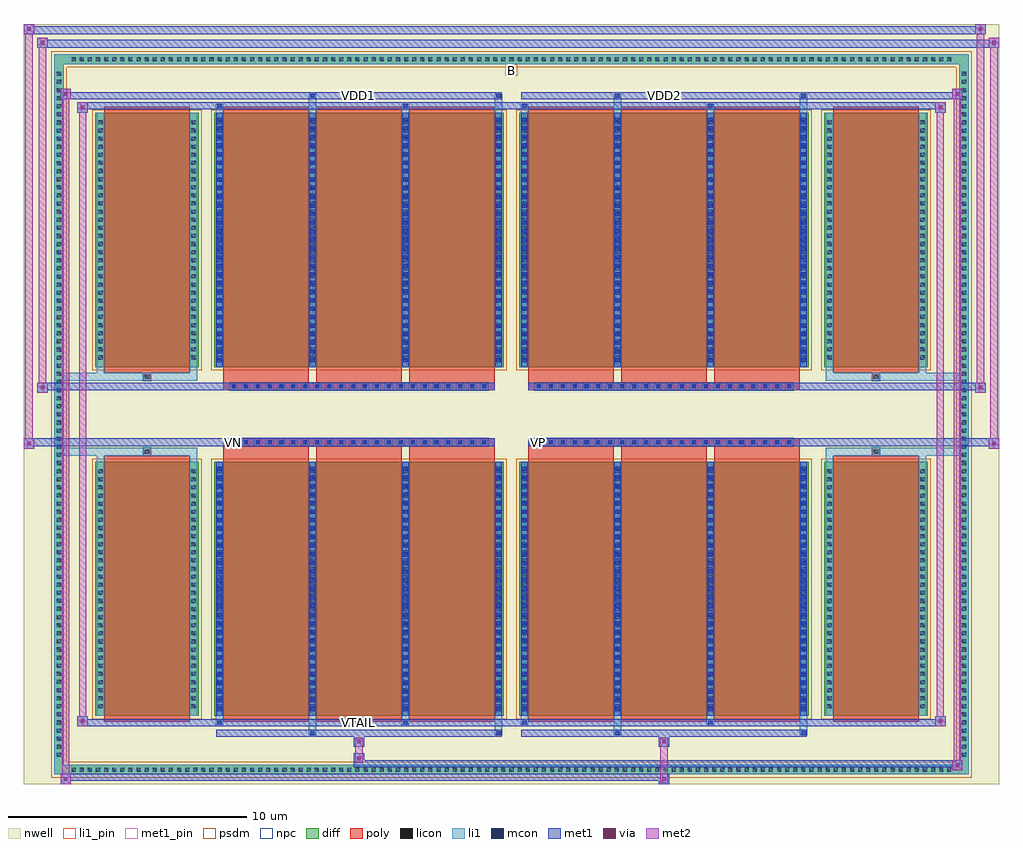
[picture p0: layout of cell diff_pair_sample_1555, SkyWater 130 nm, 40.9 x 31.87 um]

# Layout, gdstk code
import gdstk
lib = gdstk.Library(unit=1e-6, precision=5e-09)
def R(c, l, rs):  # rectangles x0, y0, x1, y1
    for r in rs: c.add(gdstk.rectangle(r[:2], r[2:], *l))
def A(c, l, x, y, w, h, nx, ny, dx, dy):  # array of equal rectangles
    R(c, l, [(x+i*dx, y+j*dy, x+i*dx+w, y+j*dy+h) for i in range(nx) for j in range(ny)])
def P(c, l, *ps):  # polygons
    for p in ps: c.add(gdstk.Polygon(p, *l))
nwell = (64, 20)
diff = (65, 20)
poly = (66, 20)
licon = (66, 44)
li1_pin = (67, 16)
li1 = (67, 20)
mcon = (67, 44)
met1_pin = (68, 16)
met1 = (68, 20)
via = (68, 44)
met2 = (69, 20)
psdm = (94, 20)
npc = (95, 20)

diff_pair_sample_1555 = lib.new_cell('diff_pair_sample_1555')
R(diff_pair_sample_1555, nwell, [(-20.45,-15.5,20.45,16.37), (-17.77,-13.69,-0.01,-0.805), (0.01,-13.69,17.77,-0.805), (-17.77,0.805,-0.01,13.69), (0.01,0.805,17.77,13.69)])
A(diff_pair_sample_1555, diff, -18.565, -15.1, 0.41, 0.41, 109, 2, 0.34, 29.79)
A(diff_pair_sample_1555, diff, -19.18, -14.485, 0.41, 0.41, 1, 85, 0, 0.34)
A(diff_pair_sample_1555, diff, 18.77, -14.485, 0.41, 0.41, 1, 85, 0, 0.34)
R(diff_pair_sample_1555, diff, [(-18.565,-15.1,18.565,-14.69), (-19.18,-14.485,-18.77,14.485), (18.77,-14.485,19.18,14.485), (-17.46,-12.645,-13.11,-1.985), (-12.47,-12.645,-0.32,-1.985), (0.32,-12.645,12.47,-1.985), (13.11,-12.645,17.46,-1.985), (-17.46,1.985,-13.11,12.645), (-12.47,1.985,-0.32,12.645), (0.32,1.985,12.47,12.645), (13.11,1.985,17.46,12.645), (-18.565,14.69,18.565,15.1)])
P(diff_pair_sample_1555, diff, [(19.18,15.1),(-19.18,15.1),(-19.18,-14.69),(-18.77,-14.69),(-18.77,14.69),(18.77,14.69),(18.77,-14.69),(-18.77,-14.69),(-19.18,-14.69),(-19.18,-15.1),(19.18,-15.1)])
A(diff_pair_sample_1555, poly, -12.08, -12.895, 3.57, 11.16, 3, 2, 3.9, 14.63)
A(diff_pair_sample_1555, poly, 0.71, -12.895, 3.57, 11.16, 3, 2, 3.9, 14.63)
A(diff_pair_sample_1555, poly, -12.08, -1.735, 3.57, 0.4, 3, 2, 3.9, 3.07)
A(diff_pair_sample_1555, poly, 0.71, -1.735, 3.57, 0.4, 3, 2, 3.9, 3.07)
A(diff_pair_sample_1555, poly, -11.81, -1.335, 0.33, 0.33, 22, 2, 0.5, 2.34)
A(diff_pair_sample_1555, poly, 0.98, -1.335, 0.33, 0.33, 22, 2, 0.5, 2.34)
R(diff_pair_sample_1555, poly, [(-17.07,-12.895,-13.5,-1.735), (13.5,-12.895,17.07,-1.735), (-15.45,-1.735,-15.12,-1.405), (-15.45,-1.735,-15.12,-1.405), (15.12,-1.735,15.45,-1.405), (15.12,-1.735,15.45,-1.405), (-12.08,-1.335,-0.71,-1.005), (0.71,-1.335,12.08,-1.005), (-12.08,1.005,-0.71,1.335), (0.71,1.005,12.08,1.335), (-15.45,1.405,-15.12,1.735), (-15.45,1.405,-15.12,1.735), (15.12,1.405,15.45,1.735), (15.12,1.405,15.45,1.735), (-17.07,1.735,-13.5,12.895), (13.5,1.735,17.07,12.895)])
A(diff_pair_sample_1555, licon, -18.445, -14.98, 0.17, 0.17, 109, 2, 0.34, 29.79)
A(diff_pair_sample_1555, licon, -19.06, -14.365, 0.17, 0.17, 1, 85, 0, 0.34)
A(diff_pair_sample_1555, licon, 18.89, -14.365, 0.17, 0.17, 1, 85, 0, 0.34)
A(diff_pair_sample_1555, licon, -17.32, -12.33, 0.17, 0.17, 1, 30, 0, 0.34)
A(diff_pair_sample_1555, licon, -13.42, -12.33, 0.17, 0.17, 1, 30, 0, 0.34)
A(diff_pair_sample_1555, licon, -12.33, -12.33, 0.17, 0.17, 4, 30, 3.9, 0.34)
A(diff_pair_sample_1555, licon, 0.46, -12.33, 0.17, 0.17, 4, 30, 3.9, 0.34)
A(diff_pair_sample_1555, licon, 13.25, -12.33, 0.17, 0.17, 1, 30, 0, 0.34)
A(diff_pair_sample_1555, licon, 17.15, -12.33, 0.17, 0.17, 1, 30, 0, 0.34)
A(diff_pair_sample_1555, licon, -11.73, -1.255, 0.17, 0.17, 22, 2, 0.5, 2.34)
A(diff_pair_sample_1555, licon, 1.06, -1.255, 0.17, 0.17, 22, 2, 0.5, 2.34)
A(diff_pair_sample_1555, licon, -17.32, 2.3, 0.17, 0.17, 1, 30, 0, 0.34)
A(diff_pair_sample_1555, licon, -13.42, 2.3, 0.17, 0.17, 1, 30, 0, 0.34)
A(diff_pair_sample_1555, licon, -12.33, 2.3, 0.17, 0.17, 4, 30, 3.9, 0.34)
A(diff_pair_sample_1555, licon, 0.46, 2.3, 0.17, 0.17, 4, 30, 3.9, 0.34)
A(diff_pair_sample_1555, licon, 13.25, 2.3, 0.17, 0.17, 1, 30, 0, 0.34)
A(diff_pair_sample_1555, licon, 17.15, 2.3, 0.17, 0.17, 1, 30, 0, 0.34)
R(diff_pair_sample_1555, licon, [(-15.37,-1.655,-15.2,-1.485), (15.2,-1.655,15.37,-1.485), (-15.37,1.485,-15.2,1.655), (15.2,1.485,15.37,1.655)])
R(diff_pair_sample_1555, li1_pin, [(-0.25,14.19,0.25,14.69)])
A(diff_pair_sample_1555, li1, -18.525, -15.06, 0.33, 0.33, 109, 2, 0.34, 29.79)
A(diff_pair_sample_1555, li1, -19.14, -14.445, 0.33, 0.33, 1, 85, 0, 0.34)
A(diff_pair_sample_1555, li1, 18.81, -14.445, 0.33, 0.33, 1, 85, 0, 0.34)
A(diff_pair_sample_1555, li1, -12.41, -12.645, 0.33, 10.66, 4, 2, 3.9, 14.63)
A(diff_pair_sample_1555, li1, 0.38, -12.645, 0.33, 10.66, 4, 2, 3.9, 14.63)
A(diff_pair_sample_1555, li1, -12.33, -12.44, 0.17, 0.17, 4, 29, 3.9, 0.36)
A(diff_pair_sample_1555, li1, -12.33, -12.44, 0.17, 10.25, 4, 2, 3.9, 14.63)
A(diff_pair_sample_1555, li1, 0.46, -12.44, 0.17, 0.17, 4, 29, 3.9, 0.36)
A(diff_pair_sample_1555, li1, 0.46, -12.44, 0.17, 10.25, 4, 2, 3.9, 14.63)
A(diff_pair_sample_1555, li1, -17.4, -12.41, 0.33, 0.33, 1, 30, 0, 0.34)
A(diff_pair_sample_1555, li1, -13.5, -12.41, 0.33, 0.33, 1, 30, 0, 0.34)
A(diff_pair_sample_1555, li1, -12.41, -12.41, 0.33, 0.33, 4, 30, 3.9, 0.34)
A(diff_pair_sample_1555, li1, 0.38, -12.41, 0.33, 0.33, 4, 30, 3.9, 0.34)
A(diff_pair_sample_1555, li1, 13.17, -12.41, 0.33, 0.33, 1, 30, 0, 0.34)
A(diff_pair_sample_1555, li1, 17.07, -12.41, 0.33, 0.33, 1, 30, 0, 0.34)
A(diff_pair_sample_1555, li1, -11.81, -1.335, 0.33, 0.33, 22, 2, 0.5, 2.34)
A(diff_pair_sample_1555, li1, 0.98, -1.335, 0.33, 0.33, 22, 2, 0.5, 2.34)
A(diff_pair_sample_1555, li1, -12.33, 2.19, 0.17, 0.17, 4, 29, 3.9, 0.36)
A(diff_pair_sample_1555, li1, 0.46, 2.19, 0.17, 0.17, 4, 29, 3.9, 0.36)
A(diff_pair_sample_1555, li1, -17.4, 2.22, 0.33, 0.33, 1, 30, 0, 0.34)
A(diff_pair_sample_1555, li1, -13.5, 2.22, 0.33, 0.33, 1, 30, 0, 0.34)
A(diff_pair_sample_1555, li1, -12.41, 2.22, 0.33, 0.33, 4, 30, 3.9, 0.34)
A(diff_pair_sample_1555, li1, 0.38, 2.22, 0.33, 0.33, 4, 30, 3.9, 0.34)
A(diff_pair_sample_1555, li1, 13.17, 2.22, 0.33, 0.33, 1, 30, 0, 0.34)
A(diff_pair_sample_1555, li1, 17.07, 2.22, 0.33, 0.33, 1, 30, 0, 0.34)
R(diff_pair_sample_1555, li1, [(-19.18,-15.1,-18.77,-14.69), (-19.18,-15.1,-18.77,-14.69), (-18.77,-15.1,18.77,-14.69), (18.77,-15.1,19.18,-14.69), (18.77,-15.1,19.18,-14.69), (-19.18,-14.69,-18.77,14.69), (18.77,-14.69,19.18,14.69), (-8.51,-13.45,-8.18,-12.645), (-8.43,-13.45,-8.26,-13.28), (-0.71,-13.45,-0.38,-12.645), (-0.63,-13.45,-0.46,-13.28), (4.28,-13.45,4.61,-12.645), (4.36,-13.45,4.53,-13.28), (12.08,-13.45,12.41,-12.645), (12.16,-13.45,12.33,-13.28), (-12.41,-13.02,-12.08,-12.645), (-12.33,-13.02,-12.16,-12.85), (-4.61,-13.02,-4.28,-12.645), (-4.53,-13.02,-4.36,-12.85), (0.38,-13.02,0.71,-12.645), (0.46,-13.02,0.63,-12.85), (8.18,-13.02,8.51,-12.645), (8.26,-13.02,8.43,-12.85), (-17.4,-12.645,-17.07,-1.985), (-13.5,-12.645,-13.17,-1.985), (13.17,-12.645,13.5,-1.985), (17.07,-12.645,17.4,-1.985), (-17.4,-1.985,-17.07,-1.405), (-13.5,-1.985,-13.17,-1.405), (13.17,-1.985,13.5,-1.405), (17.07,-1.985,17.4,-1.405), (-19.18,-1.735,-15.45,-1.405), (-17.4,-1.735,-15.45,-1.405), (-15.45,-1.735,-15.12,-1.405), (-15.12,-1.735,-13.17,-1.405), (13.17,-1.735,15.12,-1.405), (15.12,-1.735,15.45,-1.405), (15.12,-1.735,19.18,-1.405), (15.45,-1.735,17.4,-1.405), (-19.18,1.405,-15.45,1.735), (-17.4,1.405,-15.45,1.735), (-17.4,1.405,-17.07,1.985), (-15.45,1.405,-15.12,1.735), (-15.12,1.405,-13.17,1.735), (-13.5,1.405,-13.17,1.985), (13.17,1.405,15.12,1.735), (13.17,1.405,13.5,1.985), (15.12,1.405,15.45,1.735), (15.12,1.405,19.18,1.735), (15.45,1.405,17.4,1.735), (17.07,1.405,17.4,1.985), (-17.4,1.985,-17.07,12.645), (-13.5,1.985,-13.17,12.645), (13.17,1.985,13.5,12.645), (17.07,1.985,17.4,12.645), (-12.41,12.645,-12.08,13.02), (-8.51,12.645,-8.18,13.45), (-4.61,12.645,-4.28,13.02), (-0.71,12.645,-0.38,13.45), (0.38,12.645,0.71,13.02), (4.28,12.645,4.61,13.45), (8.18,12.645,8.51,13.02), (12.08,12.645,12.41,13.45), (-12.33,12.85,-12.16,13.02), (-4.53,12.85,-4.36,13.02), (0.46,12.85,0.63,13.02), (8.26,12.85,8.43,13.02), (-8.43,13.28,-8.26,13.45), (-0.63,13.28,-0.46,13.45), (4.36,13.28,4.53,13.45), (12.16,13.28,12.33,13.45), (-19.18,14.69,-18.77,15.1), (-19.18,14.69,-18.77,15.1), (-18.77,14.69,18.77,15.1), (18.77,14.69,19.18,15.1), (18.77,14.69,19.18,15.1)])
A(diff_pair_sample_1555, mcon, -12.33, -12.44, 0.17, 0.17, 4, 29, 3.9, 0.36)
A(diff_pair_sample_1555, mcon, 0.46, -12.44, 0.17, 0.17, 4, 29, 3.9, 0.36)
A(diff_pair_sample_1555, mcon, -11.73, -1.255, 0.17, 0.17, 22, 2, 0.5, 2.34)
A(diff_pair_sample_1555, mcon, 1.06, -1.255, 0.17, 0.17, 22, 2, 0.5, 2.34)
A(diff_pair_sample_1555, mcon, -12.33, 2.19, 0.17, 0.17, 4, 29, 3.9, 0.36)
A(diff_pair_sample_1555, mcon, 0.46, 2.19, 0.17, 0.17, 4, 29, 3.9, 0.36)
R(diff_pair_sample_1555, mcon, [(-8.43,-13.45,-8.26,-13.28), (-0.63,-13.45,-0.46,-13.28), (4.36,-13.45,4.53,-13.28), (12.16,-13.45,12.33,-13.28), (-12.33,-13.02,-12.16,-12.85), (-4.53,-13.02,-4.36,-12.85), (0.46,-13.02,0.63,-12.85), (8.26,-13.02,8.43,-12.85), (-12.33,12.85,-12.16,13.02), (-4.53,12.85,-4.36,13.02), (0.46,12.85,0.63,13.02), (8.26,12.85,8.43,13.02), (-8.43,13.28,-8.26,13.45), (-0.63,13.28,-0.46,13.45), (4.36,13.28,4.53,13.45), (12.16,13.28,12.33,13.45)])
R(diff_pair_sample_1555, met1_pin, [(-6.53,-13.06,-6.26,-12.79), (-11.78,-1.295,-11.51,-1.025), (1.01,-1.295,1.28,-1.025), (-6.53,13.24,-6.26,13.51), (6.26,13.24,6.53,13.51)])
A(diff_pair_sample_1555, met1, -12.39, -12.645, 0.29, 10.66, 4, 2, 3.9, 14.63)
A(diff_pair_sample_1555, met1, 0.4, -12.645, 0.29, 10.66, 4, 2, 3.9, 14.63)
A(diff_pair_sample_1555, met1, -12.39, -12.5, 0.29, 0.29, 4, 29, 3.9, 0.36)
A(diff_pair_sample_1555, met1, 0.4, -12.5, 0.29, 0.29, 4, 29, 3.9, 0.36)
A(diff_pair_sample_1555, met1, -11.79, -1.315, 0.29, 0.29, 22, 2, 0.5, 2.34)
A(diff_pair_sample_1555, met1, 1, -1.315, 0.29, 0.29, 22, 2, 0.5, 2.34)
A(diff_pair_sample_1555, met1, -12.39, 2.13, 0.29, 0.29, 4, 29, 3.9, 0.36)
A(diff_pair_sample_1555, met1, 0.4, 2.13, 0.29, 0.29, 4, 29, 3.9, 0.36)
R(diff_pair_sample_1555, met1, [(-18.91,-15.5,-18.48,-15.07), (6.18,-15.5,6.61,-15.07), (-18.91,-15.36,6.61,-15.07), (18.48,-14.93,18.91,-14.5), (-6.61,-14.79,18.91,-14.5), (-6.61,-14.65,-6.18,-14.22), (-6.61,-13.94,-6.18,-13.51), (6.18,-13.94,6.61,-13.51), (-12.39,-13.51,-0.4,-13.22), (-8.49,-13.51,-8.2,-13.22), (-0.69,-13.51,-0.4,-13.22), (0.4,-13.51,12.39,-13.22), (4.3,-13.51,4.59,-13.22), (12.1,-13.51,12.39,-13.22), (-18.2,-13.08,-17.77,-12.65), (-18.2,-13.08,-12.39,-12.79), (-12.39,-13.08,-12.1,-12.79), (-12.39,-13.08,-0.4,-12.79), (-4.59,-13.08,-4.3,-12.79), (-0.4,-13.08,0.4,-12.79), (0.4,-13.08,0.69,-12.79), (0.4,-13.08,12.39,-12.79), (8.2,-13.08,8.49,-12.79), (12.39,-13.08,18.2,-12.79), (17.77,-13.08,18.2,-12.65), (-20.45,-1.435,-20.02,-1.005), (20.02,-1.435,20.45,-1.005), (-20.45,-1.335,-0.71,-1.005), (-12.08,-1.335,-0.71,-1.005), (0.71,-1.335,12.08,-1.005), (0.71,-1.335,20.45,-1.005), (-19.88,0.905,-19.45,1.335), (19.45,0.905,19.88,1.335), (-19.88,1.005,-12.08,1.335), (-12.08,1.005,-0.71,1.335), (0.71,1.005,12.08,1.335), (12.08,1.005,19.88,1.335), (-18.2,12.65,-17.77,13.08), (17.77,12.65,18.2,13.08), (-18.2,12.79,-12.39,13.08), (-12.39,12.79,-12.1,13.08), (-12.39,12.79,-0.4,13.08), (-4.59,12.79,-4.3,13.08), (-0.4,12.79,0.4,13.08), (0.4,12.79,0.69,13.08), (0.4,12.79,12.39,13.08), (8.2,12.79,8.49,13.08), (12.39,12.79,18.2,13.08), (-18.91,13.22,-18.48,13.65), (-18.91,13.22,-12.39,13.51), (-12.39,13.22,-0.4,13.51), (-8.49,13.22,-8.2,13.51), (-0.69,13.22,-0.4,13.51), (0.4,13.22,12.39,13.51), (4.3,13.22,4.59,13.51), (12.1,13.22,12.39,13.51), (12.39,13.22,18.91,13.51), (18.48,13.22,18.91,13.65), (-19.88,15.37,-19.45,15.8), (-19.88,15.37,-17.77,15.7), (-17.77,15.37,17.77,15.7), (17.77,15.37,20.45,15.7), (20.02,15.37,20.45,15.8), (-20.45,15.94,-20.02,16.37), (-20.45,15.94,-17.77,16.27), (-17.77,15.94,17.77,16.27), (17.77,15.94,19.88,16.27), (19.45,15.94,19.88,16.37)])
R(diff_pair_sample_1555, via, [(-18.77,-15.36,-18.62,-15.21), (6.32,-15.36,6.47,-15.21), (18.62,-14.79,18.77,-14.64), (-6.47,-14.51,-6.32,-14.36), (-6.47,-13.8,-6.32,-13.65), (6.32,-13.8,6.47,-13.65), (-18.06,-12.94,-17.91,-12.79), (17.91,-12.94,18.06,-12.79), (-20.31,-1.295,-20.16,-1.145), (20.16,-1.295,20.31,-1.145), (-19.74,1.045,-19.59,1.195), (19.59,1.045,19.74,1.195), (-18.06,12.79,-17.91,12.94), (17.91,12.79,18.06,12.94), (-18.77,13.36,-18.62,13.51), (18.62,13.36,18.77,13.51), (-19.74,15.51,-19.59,15.66), (20.16,15.51,20.31,15.66), (-20.31,16.08,-20.16,16.23), (19.59,16.08,19.74,16.23)])
R(diff_pair_sample_1555, met2, [(-18.91,-15.5,-18.48,-15.07), (-18.84,-15.5,-18.55,13.65), (-18.55,-15.5,-18.48,-15.07), (-18.86,-15.45,-18.53,-15.12), (6.23,-15.45,6.56,-15.12), (6.23,-15.12,6.56,-13.89), (18.48,-14.93,18.91,-14.5), (18.55,-14.93,18.84,13.65), (18.84,-14.93,18.91,-14.5), (18.53,-14.88,18.86,-14.55), (-6.56,-14.6,-6.23,-14.27), (-6.56,-14.27,-6.23,-13.89), (-6.56,-13.89,-6.23,-13.56), (6.23,-13.89,6.56,-13.56), (-18.2,-13.08,-17.77,-12.65), (-18.13,-13.08,-17.84,13.08), (-17.84,-13.08,-17.77,-12.65), (17.77,-13.08,18.2,-12.65), (17.84,-13.08,18.13,13.08), (18.13,-13.08,18.2,-12.65), (-18.15,-13.03,-17.82,-12.7), (17.82,-13.03,18.15,-12.7), (-20.45,-1.435,-20.02,-1.005), (-20.4,-1.435,-20.07,16.37), (-20.07,-1.435,-20.02,-1.005), (20.02,-1.435,20.45,-1.005), (20.07,-1.435,20.4,15.8), (20.4,-1.435,20.45,-1.005), (-20.4,-1.385,-20.07,-1.055), (20.07,-1.385,20.4,-1.055), (-19.88,0.905,-19.45,1.335), (-19.83,0.905,-19.5,15.8), (-19.5,0.905,-19.45,1.335), (19.45,0.905,19.88,1.335), (19.5,0.905,19.83,16.37), (19.83,0.905,19.88,1.335), (-19.83,0.955,-19.5,1.285), (19.5,0.955,19.83,1.285), (-18.2,12.65,-17.77,13.08), (-17.84,12.65,-17.77,13.08), (17.77,12.65,18.2,13.08), (18.13,12.65,18.2,13.08), (-18.15,12.7,-17.82,13.03), (17.82,12.7,18.15,13.03), (-18.91,13.22,-18.48,13.65), (-18.55,13.22,-18.48,13.65), (18.48,13.22,18.91,13.65), (18.84,13.22,18.91,13.65), (-18.86,13.27,-18.53,13.6), (18.53,13.27,18.86,13.6), (-19.88,15.37,-19.45,15.8), (-19.5,15.37,-19.45,15.8), (20.02,15.37,20.45,15.8), (20.4,15.37,20.45,15.8), (-19.83,15.42,-19.5,15.75), (20.07,15.42,20.4,15.75), (-20.45,15.94,-20.02,16.37), (-20.07,15.94,-20.02,16.37), (19.45,15.94,19.88,16.37), (19.83,15.94,19.88,16.37), (-20.4,15.99,-20.07,16.32), (19.5,15.99,19.83,16.32)])
R(diff_pair_sample_1555, psdm, [(-17.59,-12.775,-12.98,-1.855), (-12.6,-12.775,-0.19,-1.855), (0.19,-12.775,12.6,-1.855), (12.98,-12.775,17.59,-1.855), (-17.59,1.855,-12.98,12.775), (-12.6,1.855,-0.19,12.775), (0.19,1.855,12.6,12.775), (12.98,1.855,17.59,12.775)])
P(diff_pair_sample_1555, psdm, [(19.31,15.23),(-19.31,15.23),(-19.31,-14.56),(-18.64,-14.56),(-18.64,14.56),(18.64,14.56),(18.64,-14.56),(-18.64,-14.56),(-19.31,-14.56),(-19.31,-15.23),(19.31,-15.23)])
A(diff_pair_sample_1555, npc, -11.83, -1.355, 0.37, 0.37, 22, 2, 0.5, 2.34)
A(diff_pair_sample_1555, npc, 0.96, -1.355, 0.37, 0.37, 22, 2, 0.5, 2.34)
R(diff_pair_sample_1555, npc, [(-15.47,-1.755,-15.1,-1.385), (15.1,-1.755,15.47,-1.385), (-11.83,-1.355,-10.96,-0.985), (-11.83,-1.355,-10.96,-0.985), (-11.33,-1.355,-10.46,-0.985), (-11.33,-1.355,-10.46,-0.985), (-10.83,-1.355,-9.96,-0.985), (-10.83,-1.355,-9.96,-0.985), (-10.33,-1.355,-9.46,-0.985), (-10.33,-1.355,-9.46,-0.985), (-9.83,-1.355,-8.96,-0.985), (-9.83,-1.355,-8.96,-0.985), (-9.33,-1.355,-8.46,-0.985), (-9.33,-1.355,-8.46,-0.985), (-8.83,-1.355,-7.96,-0.985), (-8.83,-1.355,-7.96,-0.985), (-8.33,-1.355,-7.46,-0.985), (-8.33,-1.355,-7.46,-0.985), (-7.83,-1.355,-6.96,-0.985), (-7.83,-1.355,-6.96,-0.985), (-7.33,-1.355,-6.46,-0.985), (-7.33,-1.355,-6.46,-0.985), (-6.83,-1.355,-5.96,-0.985), (-6.83,-1.355,-5.96,-0.985), (-6.33,-1.355,-5.46,-0.985), (-6.33,-1.355,-5.46,-0.985), (-5.83,-1.355,-4.96,-0.985), (-5.83,-1.355,-4.96,-0.985), (-5.33,-1.355,-4.46,-0.985), (-5.33,-1.355,-4.46,-0.985), (-4.83,-1.355,-3.96,-0.985), (-4.83,-1.355,-3.96,-0.985), (-4.33,-1.355,-3.46,-0.985), (-4.33,-1.355,-3.46,-0.985), (-3.83,-1.355,-2.96,-0.985), (-3.83,-1.355,-2.96,-0.985), (-3.33,-1.355,-2.46,-0.985), (-3.33,-1.355,-2.46,-0.985), (-2.83,-1.355,-1.96,-0.985), (-2.83,-1.355,-1.96,-0.985), (-2.33,-1.355,-1.46,-0.985), (-2.33,-1.355,-1.46,-0.985), (-1.83,-1.355,-0.96,-0.985), (-1.83,-1.355,-0.96,-0.985), (0.96,-1.355,1.83,-0.985), (0.96,-1.355,1.83,-0.985), (1.46,-1.355,2.33,-0.985), (1.46,-1.355,2.33,-0.985), (1.96,-1.355,2.83,-0.985), (1.96,-1.355,2.83,-0.985), (2.46,-1.355,3.33,-0.985), (2.46,-1.355,3.33,-0.985), (2.96,-1.355,3.83,-0.985), (2.96,-1.355,3.83,-0.985), (3.46,-1.355,4.33,-0.985), (3.46,-1.355,4.33,-0.985), (3.96,-1.355,4.83,-0.985), (3.96,-1.355,4.83,-0.985), (4.46,-1.355,5.33,-0.985), (4.46,-1.355,5.33,-0.985), (4.96,-1.355,5.83,-0.985), (4.96,-1.355,5.83,-0.985), (5.46,-1.355,6.33,-0.985), (5.46,-1.355,6.33,-0.985), (5.96,-1.355,6.83,-0.985), (5.96,-1.355,6.83,-0.985), (6.46,-1.355,7.33,-0.985), (6.46,-1.355,7.33,-0.985), (6.96,-1.355,7.83,-0.985), (6.96,-1.355,7.83,-0.985), (7.46,-1.355,8.33,-0.985), (7.46,-1.355,8.33,-0.985), (7.96,-1.355,8.83,-0.985), (7.96,-1.355,8.83,-0.985), (8.46,-1.355,9.33,-0.985), (8.46,-1.355,9.33,-0.985), (8.96,-1.355,9.83,-0.985), (8.96,-1.355,9.83,-0.985), (9.46,-1.355,10.33,-0.985), (9.46,-1.355,10.33,-0.985), (9.96,-1.355,10.83,-0.985), (9.96,-1.355,10.83,-0.985), (10.46,-1.355,11.33,-0.985), (10.46,-1.355,11.33,-0.985), (10.96,-1.355,11.83,-0.985), (10.96,-1.355,11.83,-0.985), (-11.83,0.985,-10.96,1.355), (-11.83,0.985,-10.96,1.355), (-11.33,0.985,-10.46,1.355), (-11.33,0.985,-10.46,1.355), (-10.83,0.985,-9.96,1.355), (-10.83,0.985,-9.96,1.355), (-10.33,0.985,-9.46,1.355), (-10.33,0.985,-9.46,1.355), (-9.83,0.985,-8.96,1.355), (-9.83,0.985,-8.96,1.355), (-9.33,0.985,-8.46,1.355), (-9.33,0.985,-8.46,1.355), (-8.83,0.985,-7.96,1.355), (-8.83,0.985,-7.96,1.355), (-8.33,0.985,-7.46,1.355), (-8.33,0.985,-7.46,1.355), (-7.83,0.985,-6.96,1.355), (-7.83,0.985,-6.96,1.355), (-7.33,0.985,-6.46,1.355), (-7.33,0.985,-6.46,1.355), (-6.83,0.985,-5.96,1.355), (-6.83,0.985,-5.96,1.355), (-6.33,0.985,-5.46,1.355), (-6.33,0.985,-5.46,1.355), (-5.83,0.985,-4.96,1.355), (-5.83,0.985,-4.96,1.355), (-5.33,0.985,-4.46,1.355), (-5.33,0.985,-4.46,1.355), (-4.83,0.985,-3.96,1.355), (-4.83,0.985,-3.96,1.355), (-4.33,0.985,-3.46,1.355), (-4.33,0.985,-3.46,1.355), (-3.83,0.985,-2.96,1.355), (-3.83,0.985,-2.96,1.355), (-3.33,0.985,-2.46,1.355), (-3.33,0.985,-2.46,1.355), (-2.83,0.985,-1.96,1.355), (-2.83,0.985,-1.96,1.355), (-2.33,0.985,-1.46,1.355), (-2.33,0.985,-1.46,1.355), (-1.83,0.985,-0.96,1.355), (-1.83,0.985,-0.96,1.355), (0.96,0.985,1.83,1.355), (0.96,0.985,1.83,1.355), (1.46,0.985,2.33,1.355), (1.46,0.985,2.33,1.355), (1.96,0.985,2.83,1.355), (1.96,0.985,2.83,1.355), (2.46,0.985,3.33,1.355), (2.46,0.985,3.33,1.355), (2.96,0.985,3.83,1.355), (2.96,0.985,3.83,1.355), (3.46,0.985,4.33,1.355), (3.46,0.985,4.33,1.355), (3.96,0.985,4.83,1.355), (3.96,0.985,4.83,1.355), (4.46,0.985,5.33,1.355), (4.46,0.985,5.33,1.355), (4.96,0.985,5.83,1.355), (4.96,0.985,5.83,1.355), (5.46,0.985,6.33,1.355), (5.46,0.985,6.33,1.355), (5.96,0.985,6.83,1.355), (5.96,0.985,6.83,1.355), (6.46,0.985,7.33,1.355), (6.46,0.985,7.33,1.355), (6.96,0.985,7.83,1.355), (6.96,0.985,7.83,1.355), (7.46,0.985,8.33,1.355), (7.46,0.985,8.33,1.355), (7.96,0.985,8.83,1.355), (7.96,0.985,8.83,1.355), (8.46,0.985,9.33,1.355), (8.46,0.985,9.33,1.355), (8.96,0.985,9.83,1.355), (8.96,0.985,9.83,1.355), (9.46,0.985,10.33,1.355), (9.46,0.985,10.33,1.355), (9.96,0.985,10.83,1.355), (9.96,0.985,10.83,1.355), (10.46,0.985,11.33,1.355), (10.46,0.985,11.33,1.355), (10.96,0.985,11.83,1.355), (10.96,0.985,11.83,1.355), (-15.47,1.385,-15.1,1.755), (15.1,1.385,15.47,1.755)])
diff_pair_sample_1555.add(gdstk.Label('VTAIL', (-6.395,-12.925), layer=68, texttype=5))
diff_pair_sample_1555.add(gdstk.Label('VN', (-11.645,-1.16), layer=68, texttype=5))
diff_pair_sample_1555.add(gdstk.Label('VP', (1.145,-1.16), layer=68, texttype=5))
diff_pair_sample_1555.add(gdstk.Label('B', (0,14.44), layer=67, texttype=5))
diff_pair_sample_1555.add(gdstk.Label('VDD2', (6.395,13.375), layer=68, texttype=5))
diff_pair_sample_1555.add(gdstk.Label('VDD1', (-6.395,13.375), layer=68, texttype=5))

lib.write_gds('diff_pair_sample_1555.gds')
